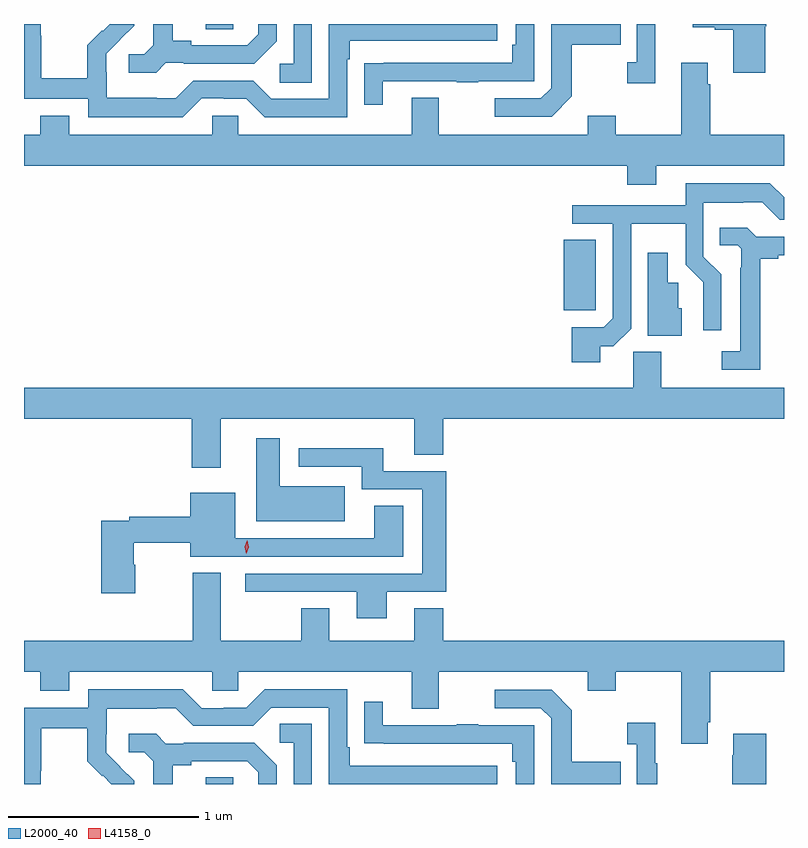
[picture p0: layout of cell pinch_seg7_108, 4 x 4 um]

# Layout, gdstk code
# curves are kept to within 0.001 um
import gdstk
lib = gdstk.Library(unit=1e-6, precision=1e-09)
def R(c, l, rs):  # rectangles x0, y0, x1, y1
    for r in rs: c.add(gdstk.rectangle(r[:2], r[2:], *l))
def P(c, l, *ps):  # polygons
    for p in ps: c.add(gdstk.Polygon(p, *l))
L2000_40 = (2000, 40)
L4158_0 = (4158, 0)

pinch_seg7_108 = lib.new_cell('pinch_seg7_108')
R(pinch_seg7_108, L2000_40, [(925.787,1035.99,925.932,1036.025), (927.671,1038.483,927.841,1038.854), (925.787,1039.963,925.932,1039.99)])
P(pinch_seg7_108, L2000_40, [(926.346,1039.99),(926.25,1039.99),(926.25,1039.782),(926.178,1039.782),(926.178,1039.681),(926.346,1039.681)],
  [(928.154,1039.99),(928.056,1039.99),(928.056,1039.79),(928.005,1039.79),(928.005,1039.677),(928.154,1039.677)],
  [(926.719,1039.689),(927.109,1039.689),(927.109,1039.684),(927.221,1039.684),(927.221,1039.689),(927.516,1039.689),(927.516,1039.99),(927.42,1039.99),(927.42,1039.882),(927.4,1039.882),(927.4,1039.785),(926.725,1039.785),(926.725,1039.784),(926.623,1039.784),(926.623,1039.566),(926.719,1039.566)],
  [(925.767,1039.599),(925.883,1039.599),(925.883,1039.596),(926.001,1039.596),(926.097,1039.5),(926.532,1039.5),(926.532,1039.805),(926.545,1039.805),(926.545,1039.902),(927.322,1039.902),(927.322,1039.99),(926.436,1039.99),(926.436,1039.596),(926.133,1039.596),(926.037,1039.692),(925.722,1039.692),(925.629,1039.599),(925.529,1039.599),(925.529,1039.603),(925.266,1039.603),(925.266,1039.737),(925.264,1039.737),(925.264,1039.834),(925.41,1039.982),(925.41,1039.99),(925.282,1039.99),(925.245,1039.953),(925.242,1039.956),(925.165,1039.879),(925.165,1039.705),(924.921,1039.705),(924.921,1039.928),(924.918,1039.928),(924.918,1039.99),(924.831,1039.99),(924.831,1039.596),(925.17,1039.596),(925.17,1039.499),(925.667,1039.499)],
  [(925.578,1039.785),(925.672,1039.785),(925.672,1039.782),(926.044,1039.782),(926.16,1039.898),(926.16,1039.99),(926.063,1039.99),(926.063,1039.935),(926.006,1039.878),(925.711,1039.878),(925.711,1039.901),(925.615,1039.901),(925.615,1039.99),(925.511,1039.99),(925.511,1039.877),(925.464,1039.83),(925.383,1039.83),(925.383,1039.733),(925.526,1039.733)],
  [(927.715,1039.609),(927.715,1039.882),(927.971,1039.882),(927.971,1039.99),(927.606,1039.99),(927.606,1039.653),(927.552,1039.599),(927.309,1039.599),(927.309,1039.503),(927.609,1039.503)],
  [(928.733,1039.977),(928.738,1039.977),(928.738,1039.99),(928.35,1039.99),(928.35,1039.973),(928.466,1039.973),(928.466,1039.961),(928.565,1039.961),(928.565,1039.734),(928.733,1039.734)],
  [(928.159,1039.244),(928.831,1039.244),(928.831,1039.408),(928.442,1039.408),(928.442,1039.673),(928.429,1039.673),(928.429,1039.786),(928.289,1039.786),(928.289,1039.408),(927.945,1039.408),(927.945,1039.507),(927.797,1039.507),(927.797,1039.408),(927.013,1039.408),(927.013,1039.603),(926.873,1039.603),(926.873,1039.408),(925.959,1039.408),(925.959,1039.506),(925.821,1039.506),(925.821,1039.408),(925.069,1039.408),(925.069,1039.507),(924.917,1039.507),(924.917,1039.408),(924.831,1039.408),(924.831,1039.244),(928.007,1039.244),(928.007,1039.145),(928.159,1039.145)],
  [(927.865,1038.295),(927.933,1038.295),(928.026,1038.387),(928.026,1038.938),(928.314,1038.938),(928.314,1038.722),(928.406,1038.63),(928.406,1038.378),(928.5,1038.378),(928.5,1038.672),(928.407,1038.765),(928.407,1039.049),(928.616,1039.049),(928.616,1039.053),(928.716,1039.053),(928.809,1038.96),(928.831,1038.96),(928.831,1039.079),(928.757,1039.153),(928.313,1039.153),(928.313,1039.035),(927.717,1039.035),(927.717,1038.939),(927.93,1038.939),(927.93,1038.441),(927.882,1038.393),(927.713,1038.393),(927.713,1038.21),(927.865,1038.21)],
  [(928.705,1038.754),(928.801,1038.754),(928.801,1038.774),(928.831,1038.774),(928.831,1038.87),(928.686,1038.87),(928.638,1038.917),(928.492,1038.917),(928.492,1038.825),(928.587,1038.825),(928.605,1038.807),(928.605,1038.707),(928.601,1038.707),(928.601,1038.267),(928.503,1038.267),(928.503,1038.171),(928.705,1038.171)],
  [(928.294,1038.495),(928.275,1038.495),(928.275,1038.627),(928.219,1038.627),(928.219,1038.787),(928.115,1038.787),(928.115,1038.35),(928.294,1038.35)],
  [(925.867,1037.912),(926.885,1037.912),(926.885,1037.722),(927.038,1037.722),(927.038,1037.912),(928.831,1037.912),(928.831,1038.076),(928.185,1038.076),(928.185,1038.265),(928.038,1038.265),(928.038,1038.076),(924.831,1038.076),(924.831,1037.912),(925.715,1037.912),(925.715,1037.655),(925.867,1037.655)],
  [(926.518,1037.557),(926.176,1037.557),(926.176,1037.809),(926.054,1037.809),(926.054,1037.372),(926.518,1037.372)],
  [(926.74,1037.001),(927.053,1037.001),(927.053,1037.637),(926.722,1037.637),(926.722,1037.758),(926.277,1037.758),(926.277,1037.661),(926.609,1037.661),(926.609,1037.541),(926.927,1037.541),(926.927,1037.097),(925.995,1037.097),(925.995,1037.001),(926.582,1037.001),(926.582,1036.862),(926.74,1036.862)],
  [(925.416,1037.145),(925.408,1037.145),(925.408,1037.26),(925.706,1037.26),(925.706,1037.187),(926.827,1037.187),(926.827,1037.455),(926.675,1037.455),(926.675,1037.283),(925.942,1037.283),(925.942,1037.524),(925.706,1037.524),(925.706,1037.396),(925.384,1037.396),(925.384,1037.376),(925.238,1037.376),(925.238,1036.995),(925.416,1036.995)],
  [(925.72,1036.744),(924.831,1036.744),(924.831,1036.58),(924.917,1036.58),(924.917,1036.481),(925.069,1036.481),(925.069,1036.58),(925.821,1036.58),(925.821,1036.482),(925.959,1036.482),(925.959,1036.58),(926.873,1036.58),(926.873,1036.386),(927.013,1036.386),(927.013,1036.58),(927.797,1036.58),(927.797,1036.481),(927.945,1036.481),(927.945,1036.58),(928.289,1036.58),(928.289,1036.203),(928.429,1036.203),(928.429,1036.315),(928.442,1036.315),(928.442,1036.58),(928.831,1036.58),(928.831,1036.744),(927.038,1036.744),(927.038,1036.916),(926.885,1036.916),(926.885,1036.744),(926.437,1036.744),(926.437,1036.916),(926.29,1036.916),(926.29,1036.744),(925.867,1036.744),(925.867,1037.101),(925.72,1037.101)],
  [(924.918,1036.06),(924.921,1036.06),(924.921,1036.284),(925.165,1036.284),(925.165,1036.109),(925.242,1036.032),(925.245,1036.035),(925.291,1035.99),(925.41,1035.99),(925.41,1036.006),(925.264,1036.154),(925.264,1036.251),(925.266,1036.251),(925.266,1036.385),(925.529,1036.385),(925.529,1036.389),(925.629,1036.389),(925.722,1036.296),(926.037,1036.296),(926.133,1036.392),(926.436,1036.392),(926.436,1035.99),(927.322,1035.99),(927.322,1036.086),(926.545,1036.086),(926.545,1036.183),(926.532,1036.183),(926.532,1036.488),(926.097,1036.488),(926.001,1036.392),(925.883,1036.392),(925.883,1036.389),(925.767,1036.389),(925.667,1036.489),(925.17,1036.489),(925.17,1036.392),(924.831,1036.392),(924.831,1035.99),(924.918,1035.99)],
  [(927.971,1036.107),(927.715,1036.107),(927.715,1036.379),(927.609,1036.485),(927.309,1036.485),(927.309,1036.389),(927.552,1036.389),(927.606,1036.335),(927.606,1035.99),(927.971,1035.99)],
  [(927.516,1036.299),(927.221,1036.299),(927.221,1036.304),(927.109,1036.304),(927.109,1036.299),(926.719,1036.299),(926.719,1036.423),(926.623,1036.423),(926.623,1036.204),(926.725,1036.204),(926.725,1036.203),(927.4,1036.203),(927.4,1036.106),(927.42,1036.106),(927.42,1035.99),(927.516,1035.99)],
  [(928.165,1036.099),(928.153,1036.099),(928.153,1036.312),(928.005,1036.312),(928.005,1036.199),(928.056,1036.199),(928.056,1035.99),(928.165,1035.99)],
  [(926.346,1036.307),(926.178,1036.307),(926.178,1036.206),(926.25,1036.206),(926.25,1035.99),(926.346,1035.99)],
  [(925.615,1036.088),(925.711,1036.088),(925.711,1036.11),(926.006,1036.11),(926.063,1036.053),(926.063,1035.99),(926.16,1035.99),(926.16,1036.09),(926.044,1036.206),(925.672,1036.206),(925.672,1036.203),(925.578,1036.203),(925.526,1036.255),(925.383,1036.255),(925.383,1036.158),(925.464,1036.158),(925.511,1036.111),(925.511,1035.99),(925.615,1035.99)],
  [(928.738,1036.255),(928.565,1036.255),(928.565,1036.142),(928.558,1036.142),(928.558,1035.99),(928.738,1035.99)])
P(pinch_seg7_108, L4158_0, [(926.001,1037.201),(926.001,1037.202),(925.993,1037.238),(926.005,1037.273),(926.005,1037.274),(926.005,1037.273),(926.013,1037.237),(926.002,1037.202)])

lib.write_gds('pinch_seg7_108.gds')
